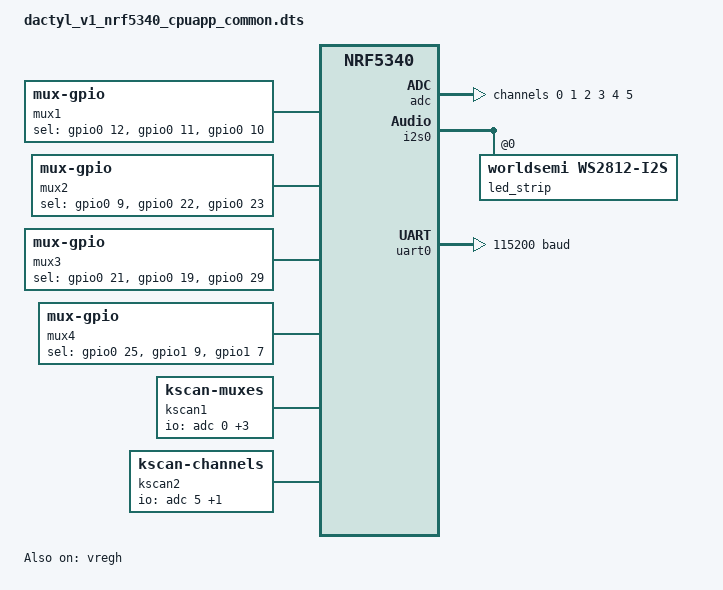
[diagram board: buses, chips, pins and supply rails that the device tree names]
#include <zephyr/dt-bindings/input/input-event-codes.h>
#include <zephyr/dt-bindings/led/led.h>

#include <dt-bindings/kb-handler/kb-key-codes.h>

#include "dactyl_v1_nrf5340_cpuapp_common-pinctrl.dtsi"

/ {

	chosen {
		zephyr,console = &uart0;
		zephyr,shell-uart = &uart0;
		zephyr,uart-mcumgr = &uart0;
		zephyr,bt-mon-uart = &uart0;
		zephyr,bt-c2h-uart = &uart0;

		zephyr,bt-hci = &bt_hci_ipc0;

        ykb,led-strip = &led_strip;
	};

    mux1: mux1 {
        compatible = "mux-gpio";
        sel-gpios = <&gpio0 12 GPIO_ACTIVE_HIGH>,
                    <&gpio0 11 GPIO_ACTIVE_HIGH>,
                    <&gpio0 10 GPIO_ACTIVE_HIGH>;
        channels = <8>;
        #mux-cells = <0>;
    };
    mux2: mux2 {
        compatible = "mux-gpio";
        sel-gpios = <&gpio0 9 GPIO_ACTIVE_HIGH>,
                    <&gpio0 22 GPIO_ACTIVE_HIGH>,
                    <&gpio0 23 GPIO_ACTIVE_HIGH>;
        channels = <8>;
        #mux-cells = <0>;
    };
    mux3: mux3 {
        compatible = "mux-gpio";
        sel-gpios = <&gpio0 21 GPIO_ACTIVE_HIGH>,
                    <&gpio0 19 GPIO_ACTIVE_HIGH>,
                    <&gpio0 29 GPIO_ACTIVE_HIGH>;
        channels = <8>;
        #mux-cells = <0>;
    };
    mux4: mux4 {
        compatible = "mux-gpio";
        sel-gpios = <&gpio0 25 GPIO_ACTIVE_HIGH>,
                    <&gpio1 9 GPIO_ACTIVE_HIGH>,
                    <&gpio1 7 GPIO_ACTIVE_HIGH>;
        channels = <8>;
        #mux-cells = <0>;
    };

    kscan1: kscan1 {

        compatible = "kscan-muxes";

        // handles indexes [0-7], [8-15], [16-23], [24-31]
        idx-offset = <0>;
        io-channels = <&adc 0>, <&adc 1>, <&adc 2>, <&adc 3>; // P0.04, P0.05, P0.06, P0.07
        muxes = <&mux1>, <&mux2>, <&mux3>, <&mux4>;

        settle-us = <3>;
        default-thresholds = <600>, <600>, <600>, <600>, <600>,
                             <600>, <600>, <600>, <600>, <600>,
                             <600>, <600>, <600>, <600>, <600>,
                             <600>, <600>, <600>, <600>, <600>,
                             <600>, <600>, <600>, <600>, <600>,
                             <600>, <600>, <600>, <600>, <600>,
                             <600>, <600>;

        #kscan-cells = <0>;
    };
    kscan2: kscan2 {

        compatible = "kscan-channels";

        // handles indexes [32-33]
        idx-offset = <32>;
        io-channels = <&adc 5>, <&adc 7>; // P0.26, P0.28

        settle-us = <3>;
        default-thresholds = <600>, <600>;

        #kscan-cells = <0>;
    };

    kb_handler: kb-handler {

        kscans = <&kscan1>, <&kscan2>;

        key-count = <34>;

        default-keymap-layer1 =
            // Left (34)
            <KEY_NOKEY>, <KEY_NOKEY>, <KEY_NOKEY>, <KEY_NOKEY>, <KEY_NOKEY>,
            <KEY_NOKEY>, <KEY_NOKEY>, <KEY_NOKEY>, <KEY_NOKEY>, <KEY_NOKEY>,
            <KEY_NOKEY>, <KEY_NOKEY>, <KEY_NOKEY>, <KEY_NOKEY>, <KEY_NOKEY>,
            <KEY_NOKEY>, <KEY_NOKEY>, <KEY_NOKEY>, <KEY_NOKEY>, <KEY_NOKEY>,
            <KEY_NOKEY>, <KEY_NOKEY>, <KEY_NOKEY>, <KEY_NOKEY>, <KEY_NOKEY>,
            <KEY_NOKEY>, <KEY_NOKEY>, <KEY_NOKEY>, <KEY_NOKEY>, <KEY_NOKEY>,
            <KEY_NOKEY>, <KEY_NOKEY>, <KEY_NOKEY>, <KEY_NOKEY>,

            // Right (34)
            <KEY_NOKEY>, <KEY_NOKEY>, <KEY_NOKEY>, <KEY_NOKEY>, <KEY_NOKEY>,
            <KEY_NOKEY>, <KEY_NOKEY>, <KEY_NOKEY>, <KEY_NOKEY>, <KEY_NOKEY>,
            <KEY_NOKEY>, <KEY_NOKEY>, <KEY_NOKEY>, <KEY_NOKEY>, <KEY_NOKEY>,
            <KEY_NOKEY>, <KEY_NOKEY>, <KEY_NOKEY>, <KEY_NOKEY>, <KEY_NOKEY>,
            <KEY_NOKEY>, <KEY_NOKEY>, <KEY_NOKEY>, <KEY_NOKEY>, <KEY_NOKEY>,
            <KEY_NOKEY>, <KEY_NOKEY>, <KEY_NOKEY>, <KEY_NOKEY>, <KEY_NOKEY>,
            <KEY_NOKEY>, <KEY_NOKEY>, <KEY_NOKEY>, <KEY_NOKEY>;

        default-keymap-layer2 =
            // Left (34)
            <KEY_NOKEY>, <KEY_NOKEY>, <KEY_NOKEY>, <KEY_NOKEY>, <KEY_NOKEY>,
            <KEY_NOKEY>, <KEY_NOKEY>, <KEY_NOKEY>, <KEY_NOKEY>, <KEY_NOKEY>,
            <KEY_NOKEY>, <KEY_NOKEY>, <KEY_NOKEY>, <KEY_NOKEY>, <KEY_NOKEY>,
            <KEY_NOKEY>, <KEY_NOKEY>, <KEY_NOKEY>, <KEY_NOKEY>, <KEY_NOKEY>,
            <KEY_NOKEY>, <KEY_NOKEY>, <KEY_NOKEY>, <KEY_NOKEY>, <KEY_NOKEY>,
            <KEY_NOKEY>, <KEY_NOKEY>, <KEY_NOKEY>, <KEY_NOKEY>, <KEY_NOKEY>,
            <KEY_NOKEY>, <KEY_NOKEY>, <KEY_NOKEY>, <KEY_NOKEY>,

            // Right (34)
            <KEY_NOKEY>, <KEY_NOKEY>, <KEY_NOKEY>, <KEY_NOKEY>, <KEY_NOKEY>,
            <KEY_NOKEY>, <KEY_NOKEY>, <KEY_NOKEY>, <KEY_NOKEY>, <KEY_NOKEY>,
            <KEY_NOKEY>, <KEY_NOKEY>, <KEY_NOKEY>, <KEY_NOKEY>, <KEY_NOKEY>,
            <KEY_NOKEY>, <KEY_NOKEY>, <KEY_NOKEY>, <KEY_NOKEY>, <KEY_NOKEY>,
            <KEY_NOKEY>, <KEY_NOKEY>, <KEY_NOKEY>, <KEY_NOKEY>, <KEY_NOKEY>,
            <KEY_NOKEY>, <KEY_NOKEY>, <KEY_NOKEY>, <KEY_NOKEY>, <KEY_NOKEY>,
            <KEY_NOKEY>, <KEY_NOKEY>, <KEY_NOKEY>, <KEY_NOKEY>;
    };

};

&vregmain {
	regulator-initial-mode = <NRF5X_REG_MODE_DCDC>;
};

&vregradio {
	regulator-initial-mode = <NRF5X_REG_MODE_DCDC>;
};

&vregh {
	status = "okay";
};

&lfxo {
	load-capacitors = "internal";
	load-capacitance-picofarad = <7>;
};

&adc {
	status = "okay";

    #address-cells = <1>;
    #size-cells = <0>;

    channel@0 {
        reg = <0>;
        zephyr,gain = "ADC_GAIN_1";
        zephyr,reference = "ADC_REF_INTERNAL";
        zephyr,acquisition-time = <ADC_ACQ_TIME_DEFAULT>;
        zephyr,input-positive = <NRF_SAADC_AIN0>;
        zephyr,resolution = <10>;
    };
    channel@1 {
        reg = <1>;
        zephyr,gain = "ADC_GAIN_1";
        zephyr,reference = "ADC_REF_INTERNAL";
        zephyr,acquisition-time = <ADC_ACQ_TIME_DEFAULT>;
        zephyr,input-positive = <NRF_SAADC_AIN1>;
        zephyr,resolution = <10>;
    };
    channel@2 {
        reg = <2>;
        zephyr,gain = "ADC_GAIN_1";
        zephyr,reference = "ADC_REF_INTERNAL";
        zephyr,acquisition-time = <ADC_ACQ_TIME_DEFAULT>;
        zephyr,input-positive = <NRF_SAADC_AIN2>;
        zephyr,resolution = <10>;
    };
    channel@3 {
        reg = <3>;
        zephyr,gain = "ADC_GAIN_1";
        zephyr,reference = "ADC_REF_INTERNAL";
        zephyr,acquisition-time = <ADC_ACQ_TIME_DEFAULT>;
        zephyr,input-positive = <NRF_SAADC_AIN3>;
        zephyr,resolution = <10>;
    };
    channel@4 {
        reg = <4>;
        zephyr,gain = "ADC_GAIN_1";
        zephyr,reference = "ADC_REF_INTERNAL";
        zephyr,acquisition-time = <ADC_ACQ_TIME_DEFAULT>;
        zephyr,input-positive = <NRF_SAADC_AIN4>;
        zephyr,resolution = <10>;
    };
    channel@5 {
        reg = <5>;
        zephyr,gain = "ADC_GAIN_1";
        zephyr,reference = "ADC_REF_INTERNAL";
        zephyr,acquisition-time = <ADC_ACQ_TIME_DEFAULT>;
        zephyr,input-positive = <NRF_SAADC_AIN5>;
        zephyr,resolution = <10>;
    };

};

&gpiote {
	status = "okay";
};

&gpio0 {
	status = "okay";
};

&gpio1 {
	status = "okay";
};

// &i2c1 {
// 	compatible = "nordic,nrf-twim";
// 	status = "okay";
// 	pinctrl-0 = <&i2c1_default>;
// 	pinctrl-1 = <&i2c1_sleep>;
// 	pinctrl-names = "default", "sleep";
// };

&i2s0 {
    status = "okay";
    pinctrl-0 = <&i2s0_default>;
    pinctrl-1 = <&i2s0_sleep>;
    pinctrl-names = "default", "sleep";

    led_strip: led_strip@0 {
        compatible = "worldsemi,ws2812-i2s";
        reg = <0>;
        status = "okay";
        chain-length = <34>;
        color-mapping = <LED_COLOR_ID_GREEN
                    LED_COLOR_ID_RED
                    LED_COLOR_ID_BLUE>;
    };
};

&uart0 {
	status = "okay";
	current-speed = <115200>;
	pinctrl-0 = <&uart0_default>;
	pinctrl-1 = <&uart0_sleep>;
	pinctrl-names = "default", "sleep";
};
